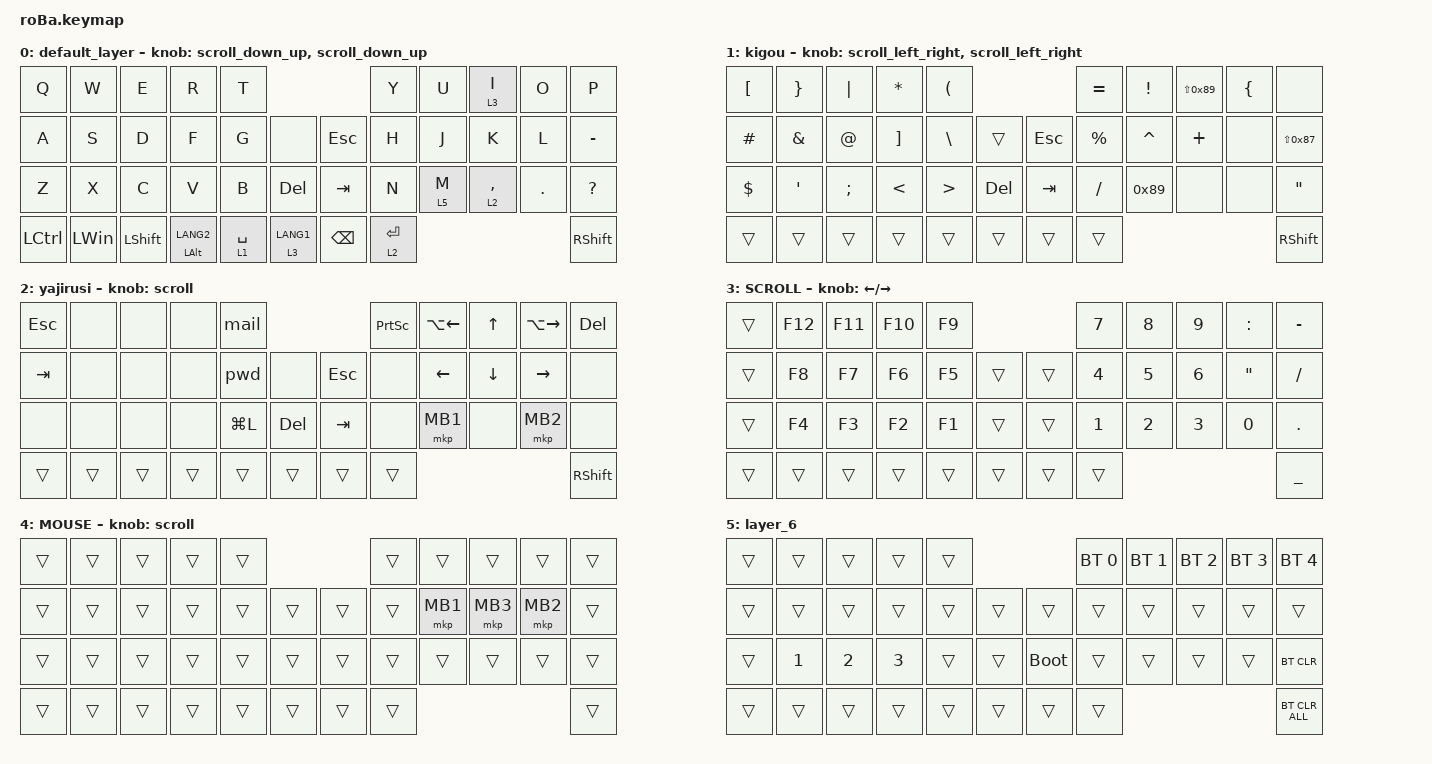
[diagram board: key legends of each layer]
#include <behaviors.dtsi>
#include <dt-bindings/zmk/bt.h>
#include <dt-bindings/zmk/keys.h>
#include <dt-bindings/zmk/pointing.h>

// Mouse Scroll Value
#define ZMK_POINTING_DEFAULT_SCRL_VAL 100

#define MOUSE 4
#define SCROLL 5
#define NUM 6

// OS設定を日本語キーボードのまま使用するための変換定義

#define JP_DQUOTE       AT                // "
#define JP_AMPERSAND    CARET             // &
#define JP_QUOTE        AMPERSAND         // '
#define JP_EQUAL        UNDER             // =
#define JP_CARET        EQUAL             // ^
#define JP_YEN          0x89              // ¥
#define JP_PLUS         COLON             // +
#define JP_TILDE        PLUS              // ~
#define JP_PIPE         LS(0x89)          // |
#define JP_AT           LEFT_BRACKET      // @
#define JP_COLON        SINGLE_QUOTE      // :
#define JP_ASTERISK     DOUBLE_QUOTES     // *
#define JP_BACKQUOTE    LEFT_BRACE        // `
#define JP_UNDERSCORE   LS(0x87)          // _
#define JP_LBRACKET     RIGHT_BRACKET     // [
#define JP_RBRACKET     BACKSLASH         // ]
#define JP_LPAREN       ASTERISK          // (
#define JP_RPAREN       LEFT_PARENTHESIS  // )
#define JP_LBRACE       RIGHT_BRACE       // {
#define JP_RBRACE       PIPE              // }
#define JP_KANA         LANGUAGE_1        // かな
#define JP_EISU         LANGUAGE_2        // 英数
#define JP_HANZEN       GRAVE             // 半角/全角

&mt {
    flavor = "balanced";
    quick-tap-ms = <0>;
};

/ {
    combos {
        compatible = "zmk,combos";

        tab {
            bindings = <&kp TAB>;
            key-positions = <11 12>;
        };

        shift_tab {
            bindings = <&kp LS(TAB)>;
            key-positions = <12 13>;
        };

        muhennkann {
            bindings = <&to_layer_0 INT_MUHENKAN>;
            key-positions = <11 10>;
        };

        double_quotation {
            bindings = <&kp DOUBLE_QUOTES>;
            key-positions = <20 21>;
        };

        eq {
            bindings = <&kp EQUAL>;
            key-positions = <24 25>;
        };
    };

    macros {
        to_layer_0: to_layer_0 {
            compatible = "zmk,behavior-macro-one-param";
            #binding-cells = <1>;
            bindings = <&to 0 &macro_param_1to1 &kp MACRO_PLACEHOLDER>;
            label = "TO_LAYER_0";
        };

        mail: mail {
            compatible = "zmk,behavior-macro";
            #binding-cells = <0>;
            bindings = <&kp T &kp S &kp U &kp T &kp O &kp M &kp U &kp UNDER &kp O &kp O &kp T &kp A &kp W &kp A &kp AT &kp T &kp O &kp M &kp O &kp E &kp G &kp A &kp W &kp A &kp DOT &kp C &kp O &kp DOT &kp J &kp P>;
            label = "MAIL";
        };

        pwd: pwd {
            compatible = "zmk,behavior-macro";
            #binding-cells = <0>;
            bindings = <&none &kp LS(I) &kp N &kp T &kp E &kp L &kp JP_AT>;
            label = "PWD";
        };
    };

    behaviors {
        lt_to_layer_0: lt_to_layer_0 {
            compatible = "zmk,behavior-hold-tap";
            label = "LAYER_TAP_TO_0";
            bindings = <&mo>, <&to_layer_0>;

            #binding-cells = <2>;
            tapping-term-ms = <400>;
        };

        scroll: mouse_wheel {
            compatible = "zmk,behavior-sensor-rotate";
            #sensor-binding-cells = <0>;
            bindings = <&msc SCRL_LEFT>, <&msc SCRL_RIGHT>;

            tap-ms = <90>;
            label = "lr";
        };

        new_behavior: new_behavior {
            compatible = "zmk,behavior-sensor-rotate";
            label = "NEW_BEHAVIOR";
            #sensor-binding-cells = <0>;
            bindings = <&msc SCRL_DOWN>, <&msc SCRL_UP>;

            tap-ms = <20>;
        };

        // Encoder to Mouse Scroll

        scroll_up_down: behavior_sensor_rotate_mouse_wheel_up_down {
            compatible = "zmk,behavior-sensor-rotate";
            #sensor-binding-cells = <0>;
            bindings = <&msc SCRL_UP>, <&msc SCRL_DOWN>;

            tap-ms = <20>;
        };

        scroll_down_up: behavior_sensor_rotate_mouse_wheel_down_up {
            compatible = "zmk,behavior-sensor-rotate";
            #sensor-binding-cells = <0>;
            bindings = <&msc SCRL_DOWN>, <&msc SCRL_UP>;

            tap-ms = <20>;
        };

        scroll_left_right: behavior_sensor_rotate_mouse_wheel_left_right {
            compatible = "zmk,behavior-sensor-rotate";
            #sensor-binding-cells = <0>;
            bindings = <&msc SCRL_LEFT>, <&msc SCRL_RIGHT>;

            tap-ms = <20>;
        };

        scroll_right_left: behavior_sensor_rotate_mouse_wheel_right_left {
            compatible = "zmk,behavior-sensor-rotate";
            #sensor-binding-cells = <0>;
            bindings = <&msc SCRL_RIGHT>, <&msc SCRL_LEFT>;

            tap-ms = <20>;
        };

        volume_up_down: behavior_sensor_rotate_volume_up_down {
            compatible = "zmk,behavior-sensor-rotate";
            #sensor-binding-cells = <0>;
            bindings = <&kp C_VOLUME_UP>, <&kp C_VOLUME_DOWN>;

            tap-ms = <20>;
        };


    };

    keymap {
        compatible = "zmk,keymap";

        default_layer {
            sensor-bindings = <&scroll_down_up>, <&scroll_down_up>;
            bindings = <
&kp Q             &kp W         &kp E           &kp R               &kp T                                                   &kp Y        &kp U    &lt 3 I      &kp O    &kp P
&kp A             &kp S         &kp D           &kp F               &kp G        &none                       &kp ESCAPE     &kp H        &kp J    &kp K        &kp L    &kp MINUS
&kp Z             &kp X         &kp C           &kp V               &kp B        &kp DELETE                  &kp TAB        &kp N        &lt 5 M  &lt 2 COMMA  &kp DOT  &kp QUESTION
&kp LEFT_CONTROL  &kp LEFT_WIN  &kp LEFT_SHIFT  &mt LEFT_ALT LANG2  &lt 1 SPACE  &lt_to_layer_0 3 LANG1      &kp BACKSPACE  &lt 2 ENTER                                 &kp RIGHT_SHIFT
            >;
        };

        kigou {
            sensor-bindings = <&scroll_left_right>, <&scroll_left_right>;
            bindings = <
&kp JP_AT   &kp RIGHT_BRACE   &kp PIPE       &kp JP_LPAREN      &kp LEFT_PARENTHESIS                              &kp EQUAL    &kp EXCLAMATION  &kp LS(0x89)  &kp LEFT_BRACE  &none
&kp HASH    &kp AMPERSAND     &kp AT         &kp RIGHT_BRACKET  &kp BACKSLASH         &trans          &kp ESCAPE  &kp PERCENT  &kp CARET        &kp PLUS      &none           &kp LS(0x87)
&kp DOLLAR  &kp SINGLE_QUOTE  &kp SEMICOLON  &kp LESS_THAN      &kp GREATER_THAN      &kp DELETE      &kp TAB     &kp SLASH    &kp 0x89         &none         &none           &kp DOUBLE_QUOTES
&trans      &trans            &trans         &trans             &trans                &trans          &trans      &trans                                                      &kp RIGHT_SHIFT
            >;
        };

        yajirusi {
            bindings = <
&kp ESCAPE  &none   &none   &none   &mail                               &kp PRINTSCREEN  &kp LA(LEFT)  &kp UP    &kp LA(RIGHT)  &kp DELETE
&kp TAB     &none   &none   &none   &pwd       &none           &kp ESC  &none            &kp LEFT      &kp DOWN  &kp RIGHT      &none
&none       &none   &none   &none   &kp LG(L)  &kp DELETE      &kp TAB  &none            &mkp MB1      &none     &mkp MB2       &none
&trans      &trans  &trans  &trans  &trans     &trans          &trans   &trans                                                  &kp RIGHT_SHIFT
            >;

            sensor-bindings = <&scroll>;
        };

        SCROLL {
            bindings = <
&trans  &kp F12  &kp F11  &kp F10  &kp F9                      &kp NUMBER_7  &kp NUMBER_8  &kp NUMBER_9  &kp JP_PLUS      &kp MINUS
&trans  &kp F8   &kp F7   &kp F6   &kp F5  &trans      &trans  &kp NUMBER_4  &kp NUMBER_5  &kp NUMBER_6  &kp JP_ASTERISK  &kp SLASH
&trans  &kp F4   &kp F3   &kp F2   &kp F1  &trans      &trans  &kp NUMBER_1  &kp NUMBER_2  &kp NUMBER_3  &kp NUMBER_0     &kp PERIOD
&trans  &trans   &trans   &trans   &trans  &trans      &trans  &trans                                                     &kp JP_EQUAL
            >;

            sensor-bindings = <&inc_dec_kp LEFT_ARROW RIGHT_ARROW>;
        };

        MOUSE {
            bindings = <
&trans  &trans  &trans  &trans  &trans                      &trans  &trans    &trans    &trans    &trans
&trans  &trans  &trans  &trans  &trans  &trans      &trans  &trans  &mkp MB1  &mkp MB3  &mkp MB2  &trans
&trans  &trans  &trans  &trans  &trans  &trans      &trans  &trans  &trans    &trans    &trans    &trans
&trans  &trans  &trans  &trans  &trans  &trans      &trans  &trans                                &trans
            >;

            sensor-bindings = <&scroll>;
        };

        layer_6 {
            bindings = <
&trans  &trans        &trans        &trans        &trans                           &bt BT_SEL 0  &bt BT_SEL 1  &bt BT_SEL 2  &bt BT_SEL 3  &bt BT_SEL 4
&trans  &trans        &trans        &trans        &trans  &trans      &trans       &trans        &trans        &trans        &trans        &trans
&trans  &kp NUMBER_1  &kp NUMBER_2  &kp NUMBER_3  &trans  &trans      &bootloader  &trans        &trans        &trans        &trans        &bt BT_CLR
&trans  &trans        &trans        &trans        &trans  &trans      &trans       &trans                                                  &bt BT_CLR_ALL
            >;
        };
    };
};
